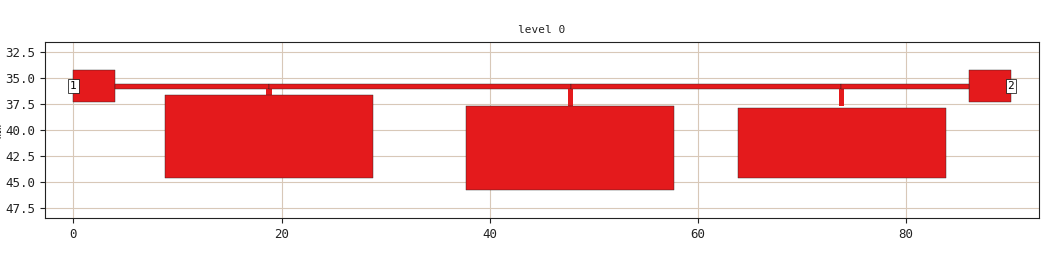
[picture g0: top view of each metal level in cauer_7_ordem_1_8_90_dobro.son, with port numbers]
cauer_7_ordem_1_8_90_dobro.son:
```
FTYP SONPROJ 13 ! Sonnet Project File
VER 15.53.lite
HEADER
LIC SL290709.106431 847bebfebdba DESKTOP-1CMJ3DP Arihe
DAT 06/09/2019 16:57:38
BUILT_BY_CREATED xgeom 15.53-Lite 04/13/2019 20:59:13
BUILT_BY_SAVED xgeom 15.53-Lite
MDATE 06/09/2019 16:57:38
HDATE 06/09/2019 16:57:38
END HEADER
DIM
FREQ GHZ
RSVY OHMM
IND NH
LNG MM
ANG DEG
CON /OH
CAP PF
RES OH
END DIM
FREQ
ABS 1.0e-9 3.0 
END FREQ
CONTROL
ABS
OPTIONS  -dj 
SPEED 0
CACHE_ABS 1
TARG_ABS 300
Q_ACC N
END CONTROL
GEO
DRP1 LEFT LINK
POLY 12 1
1
DRP1 RIGHT LINK
POLY 14 1
0
TMET "Lossless" 0 SUP 0 0 0 0
BMET "Lossless" 0 SUP 0 0 0 0
MET "Copper" 1 NOR 58000000 0 0.0347 
BOX 1 90.1 80 1802 320 20 0
      20 1 1 0 0 0 0 "Air"
      1.5306 4.1 1 0.02 0 0 0 "FR-4"
LORGN 0 80 U 
POR1 STD
POLY 12 1
3
1 50 0 0 0 3.124966952e-010 35.7625 
POR1 STD
POLY 14 1
1
2 50 0 0 0 90.1 35.7625 
NUM 12
0 5 0 N 12 1 1 100 100 0 0 0 Y
3.124966952e-010 34.2125
4.000000001 34.2125
4.000000001 37.3125
3.124966952e-010 37.3125
3.124966952e-010 34.2125
END
0 5 0 N 14 1 1 100 100 0 0 0 Y
86.1 34.2125
90.1 34.2125
90.1 37.3125
86.1 37.3125
86.1 34.2125
END
0 5 0 N 16 1 1 100 100 0 0 0 Y
3.999999999 35.5375
18.8 35.5375
18.8 36.0375
3.999999999 36.0375
3.999999999 35.5375
END
0 5 0 N 17 1 1 100 100 0 0 0 Y
19.05 36.0875
19.05 36.6875
18.55 36.6875
18.55 36.0875
19.05 36.0875
END
0 5 0 N 18 1 1 100 100 0 0 0 Y
18.8 35.5375
47.8 35.5375
47.8 36.0375
18.8 36.0375
18.8 35.5375
END
0 5 0 N 19 1 1 100 100 0 0 0 Y
47.5 36.0375
48 36.0375
48 37.7375
47.5 37.7375
47.5 36.0375
END
0 5 0 N 20 1 1 100 100 0 0 0 Y
47.8 35.5375
73.8 35.5375
73.8 36.0375
47.8 36.0375
47.8 35.5375
END
0 5 0 N 21 1 1 100 100 0 0 0 Y
74.1 36.0375
74.1 37.7375
73.6 37.7375
73.6 36.0375
74.1 36.0375
END
0 5 0 N 22 1 1 100 100 0 0 0 Y
73.8 35.5375
86.1 35.5375
86.1 36.0375
73.8 36.0375
73.8 35.5375
END
0 5 0 N 23 1 1 100 100 0 0 0 Y
28.8 36.6375
28.8 44.6375
8.8 44.6375
8.8 36.6375
28.8 36.6375
END
0 5 0 N 24 1 1 100 100 0 0 0 Y
57.75 37.6875
57.75 45.7875
37.75 45.7875
37.75 37.6875
57.75 37.6875
END
0 5 0 N 25 1 1 100 100 0 0 0 Y
83.85 37.8875
83.85 44.5875
63.85 44.5875
63.85 37.8875
83.85 37.8875
END
END GEO
OPT
MAX 100
VARS
END
END OPT
VARSWP
END VARSWP
QSG
IMPORT NO
EXTRA_METAL NO
UNITS YES
ALIGN NO
REF NO
VIEW_RES NO
METALS YES
USED NO
END QSG
```
